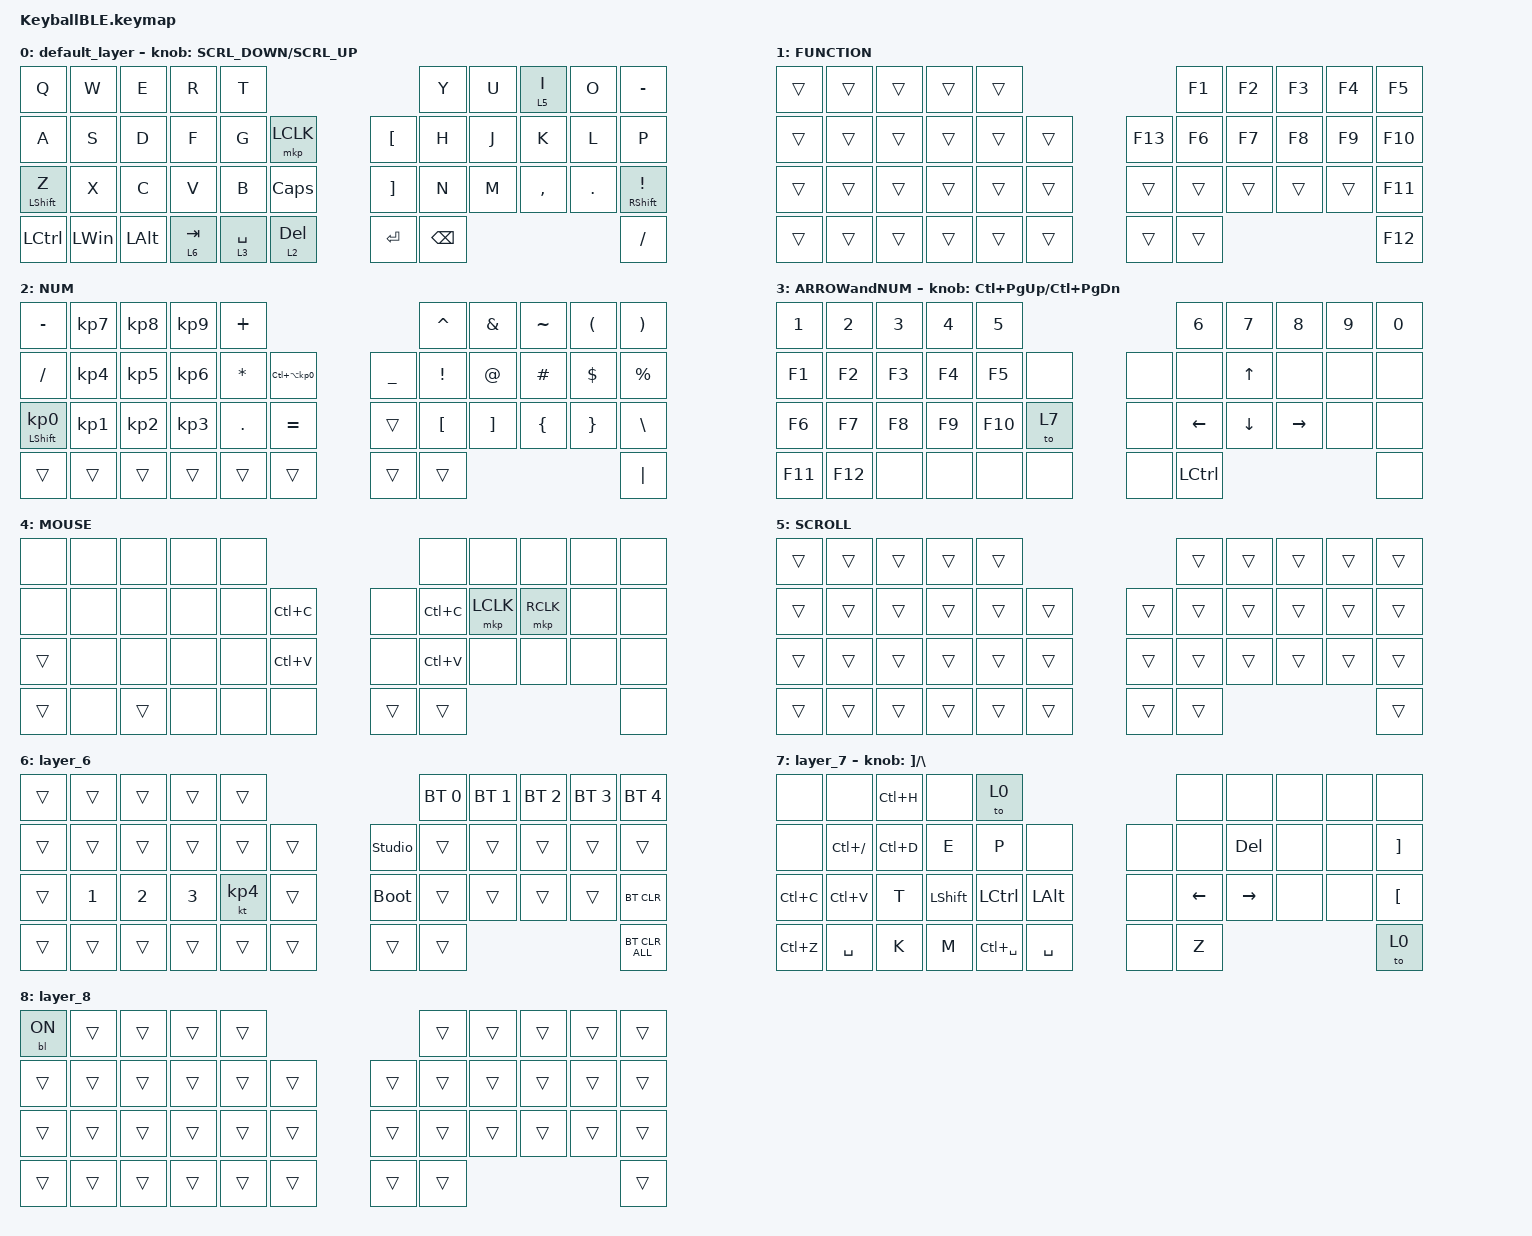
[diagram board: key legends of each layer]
#define ZMK_POINTING_DEFAULT_SCRL_VAL 120    // default: 10

#include <behaviors.dtsi>
#include <dt-bindings/zmk/backlight.h>
#include <dt-bindings/zmk/bt.h>
#include <dt-bindings/zmk/keys.h>
#include <dt-bindings/zmk/pointing.h>

#define MOUSE 4
#define SCROLL 5
#define NUM 6

&mt {
    flavor = "balanced";
    quick-tap-ms = <0>;
};

/ {
    combos {
        compatible = "zmk,combos";

        double_quotation {
            bindings = <&kp DOUBLE_QUOTES>;
            key-positions = <20 21>;
        };

        line {
            bindings = <&kp LA(ENTER)>;
            key-positions = <40 39>;
        };
    };

    macros {
        to_layer_0: to_layer_0 {
            compatible = "zmk,behavior-macro-one-param";
            #binding-cells = <1>;
            bindings = <&to 0 &macro_param_1to1 &kp MACRO_PLACEHOLDER>;
            label = "TO_LAYER_0";
        };
    };

    behaviors {
        lt_to_layer_0: lt_to_layer_0 {
            compatible = "zmk,behavior-hold-tap";
            label = "LAYER_TAP_TO_0";
            bindings = <&mo>, <&to_layer_0>;

            #binding-cells = <2>;
            tapping-term-ms = <200>;
        };

        ROTATE: ROTATE {
            compatible = "zmk,behavior-sensor-rotate-var";
            label = "ROTATE";
            #sensor-binding-cells = <2>;
            bindings = <&msc>, <&msc>;

            tap-ms = <20>;
        };
    };

    keymap {
        compatible = "zmk,keymap";

        default_layer {
            bindings = <
&kp Q             &kp W         &kp E         &kp R                 &kp T                                                        &kp Y          &kp U  &lt 5 I    &kp O    &kp MINUS
&kp A             &kp S         &kp D         &kp F                 &kp G        &mkp LCLK                    &kp LEFT_BRACKET   &kp H          &kp J  &kp K      &kp L    &kp P
&mt LEFT_SHIFT Z  &kp X         &kp C         &kp V                 &kp B        &kp CAPS                     &kp RIGHT_BRACKET  &kp N          &kp M  &kp COMMA  &kp DOT  &mt RIGHT_SHIFT EXCL
&kp LCTRL         &kp LEFT_WIN  &kp LEFT_ALT  &lt_to_layer_0 6 TAB  &lt 3 SPACE  &lt_to_layer_0 2 DELETE      &kp ENTER          &kp BACKSPACE                             &kp SLASH
            >;

            sensor-bindings = <&ROTATE SCRL_DOWN SCRL_UP>;
        };

        FUNCTION {
            bindings = <
&trans  &trans  &trans  &trans  &trans                       &kp F1  &kp F2  &kp F3  &kp F4  &kp F5
&trans  &trans  &trans  &trans  &trans  &trans      &kp F13  &kp F6  &kp F7  &kp F8  &kp F9  &kp F10
&trans  &trans  &trans  &trans  &trans  &trans      &trans   &trans  &trans  &trans  &trans  &kp F11
&trans  &trans  &trans  &trans  &trans  &trans      &trans   &trans                          &kp F12
            >;
        };

        NUM {
            bindings = <
&kp MINUS                   &kp KP_NUMBER_7  &kp KP_NUMBER_8  &kp KP_NUMBER_9  &kp PLUS                                                   &kp CARET         &kp AMPERSAND      &kp TILDE       &kp LEFT_PARENTHESIS  &kp RIGHT_PARENTHESIS
&kp SLASH                   &kp KP_NUMBER_4  &kp KP_NUMBER_5  &kp KP_NUMBER_6  &kp ASTERISK  &kp LC(LA(KP_NUMBER_0))      &kp UNDERSCORE  &kp EXCLAMATION   &kp AT_SIGN        &kp HASH        &kp DOLLAR            &kp PERCENT
&mt LEFT_SHIFT KP_NUMBER_0  &kp KP_NUMBER_1  &kp KP_NUMBER_2  &kp KP_NUMBER_3  &kp PERIOD    &kp EQUAL                    &trans          &kp LEFT_BRACKET  &kp RIGHT_BRACKET  &kp LEFT_BRACE  &kp RIGHT_BRACE       &kp BACKSLASH
&trans                      &trans           &trans           &trans           &trans        &trans                       &trans          &trans                                                                     &kp PIPE
            >;
        };

        ARROWandNUM {
            bindings = <
&kp NUMBER_1  &kp NUMBER_2  &kp NUMBER_3  &kp NUMBER_4  &kp N5                     &kp NUMBER_6      &kp N7          &kp N8           &kp N9  &kp N0
&kp F1        &kp F2        &kp F3        &kp F4        &kp F5   &none      &none  &none             &kp UP_ARROW    &none            &none   &none
&kp F6        &kp F7        &kp F8        &kp F9        &kp F10  &to 7      &none  &kp LEFT_ARROW    &kp DOWN_ARROW  &kp RIGHT_ARROW  &none   &none
&kp F11       &kp F12       &none         &none         &none    &none      &none  &kp LEFT_CONTROL                                           &none
            >;

            sensor-bindings = <&inc_dec_kp LC(PAGE_UP) LC(PAGE_DOWN)>;
        };

        MOUSE {
            bindings = <
&none   &none  &none   &none  &none                         &none      &none      &none      &none  &none
&none   &none  &none   &none  &none  &kp LC(C)      &none   &kp LC(C)  &mkp LCLK  &mkp RCLK  &none  &none
&trans  &none  &none   &none  &none  &kp LC(V)      &none   &kp LC(V)  &none      &none      &none  &none
&trans  &none  &trans  &none  &none  &none          &trans  &trans                                  &none
            >;
        };

        SCROLL {
            bindings = <
&trans  &trans  &trans  &trans  &trans                      &trans  &trans  &trans  &trans  &trans
&trans  &trans  &trans  &trans  &trans  &trans      &trans  &trans  &trans  &trans  &trans  &trans
&trans  &trans  &trans  &trans  &trans  &trans      &trans  &trans  &trans  &trans  &trans  &trans
&trans  &trans  &trans  &trans  &trans  &trans      &trans  &trans                          &trans
            >;
        };

        layer_6 {
            bindings = <
&trans  &trans        &trans        &trans        &trans                                 &bt BT_SEL 0  &bt BT_SEL 1  &bt BT_SEL 2  &bt BT_SEL 3  &bt BT_SEL 4
&trans  &trans        &trans        &trans        &trans     &trans      &studio_unlock  &trans        &trans        &trans        &trans        &trans
&trans  &kp NUMBER_1  &kp NUMBER_2  &kp NUMBER_3  &kt KP_N4  &trans      &bootloader     &trans        &trans        &trans        &trans        &bt BT_CLR
&trans  &trans        &trans        &trans        &trans     &trans      &trans          &trans                                                  &bt BT_CLR_ALL
            >;
        };

        layer_7 {
            bindings = <
&none      &none          &kp LC(H)  &none           &to 0                                      &none           &none            &none  &none  &none
&none      &kp LC(SLASH)  &kp LC(D)  &kp E           &kp P             &none             &none  &none           &kp DELETE       &none  &none  &kp RBKT
&kp LC(C)  &kp LC(V)      &kp T      &kp LEFT_SHIFT  &kp LEFT_CONTROL  &kp LEFT_ALT      &none  &kp LEFT_ARROW  &kp RIGHT_ARROW  &none  &none  &kp LBKT
&kp LC(Z)  &kp SPACE      &kp K      &kp M           &kp LC(SPACE)     &kp SPACE         &none  &kp Z                                          &to 0
            >;

            sensor-bindings = <&inc_dec_kp RIGHT_BRACKET BACKSLASH>;
        };

        layer_8 {
            bindings = <
&bl BL_ON  &trans  &trans  &trans  &trans                      &trans  &trans  &trans  &trans  &trans
&trans     &trans  &trans  &trans  &trans  &trans      &trans  &trans  &trans  &trans  &trans  &trans
&trans     &trans  &trans  &trans  &trans  &trans      &trans  &trans  &trans  &trans  &trans  &trans
&trans     &trans  &trans  &trans  &trans  &trans      &trans  &trans                          &trans
            >;
        };
    };
};
